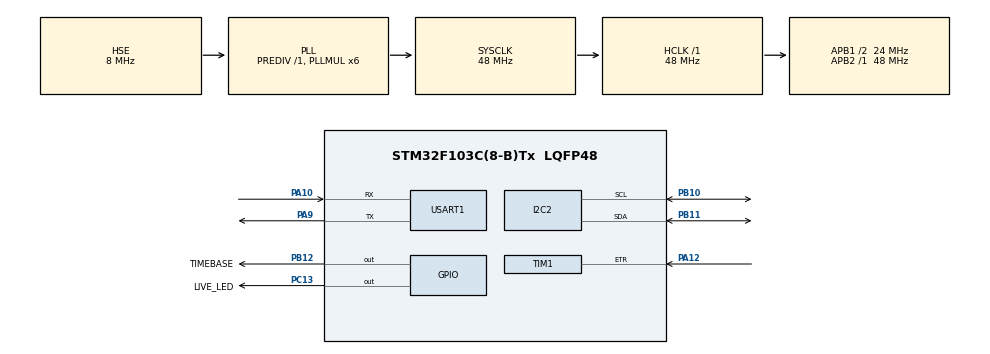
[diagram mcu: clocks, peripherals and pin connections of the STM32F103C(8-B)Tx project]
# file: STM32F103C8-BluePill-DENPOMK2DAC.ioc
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Dma.Request0=USART1_RX
Dma.USART1_RX.0.Direction=DMA_PERIPH_TO_MEMORY
Dma.USART1_RX.0.Instance=DMA1_Channel5
Dma.USART1_RX.0.MemDataAlignment=DMA_MDATAALIGN_BYTE
Dma.USART1_RX.0.MemInc=DMA_MINC_ENABLE
Dma.USART1_RX.0.Mode=DMA_NORMAL
Dma.USART1_RX.0.PeriphDataAlignment=DMA_PDATAALIGN_BYTE
Dma.USART1_RX.0.PeriphInc=DMA_PINC_DISABLE
Dma.USART1_RX.0.Priority=DMA_PRIORITY_MEDIUM
Mcu.Family=STM32F1
Mcu.Name=STM32F103C(8-B)Tx
Mcu.Package=LQFP48
NVIC.DMA1_Channel5_IRQn=true\:0\:0\:false\:false\:true\:false\:true
NVIC.PriorityGroup=NVIC_PRIORITYGROUP_4
NVIC.TIM1_UP_IRQn=true\:0\:0\:false\:false\:true\:true\:true
NVIC.TIM2_IRQn=true\:0\:0\:false\:false\:true\:true\:true
NVIC.USART1_IRQn=true\:0\:0\:false\:false\:true\:true\:true
PA10.Mode=Asynchronous
PA10.Signal=USART1_RX
PA12.Signal=S_TIM1_ETR
PA13.Mode=Serial_Wire
PA13.Signal=SYS_JTMS-SWDIO
PA14.Mode=Serial_Wire
PA14.Signal=SYS_JTCK-SWCLK
PA9.Mode=Asynchronous
PA9.Signal=USART1_TX
PB10.Mode=I2C
PB10.Signal=I2C2_SCL
PB11.Mode=I2C
PB11.Signal=I2C2_SDA
PB12.GPIO_Label=TIMEBASE
PB12.Signal=GPIO_Output
PC13-TAMPER-RTC.GPIO_Label=LIVE_LED
PC13-TAMPER-RTC.Signal=GPIO_Output
PD0-OSC_IN.Mode=HSE-External-Oscillator
PD0-OSC_IN.Signal=RCC_OSC_IN
PD1-OSC_OUT.Mode=HSE-External-Oscillator
PD1-OSC_OUT.Signal=RCC_OSC_OUT
ProjectManager.HeapSize=0x200
ProjectManager.StackSize=0x400
ProjectManager.TargetToolchain=STM32CubeIDE
RCC.AHBFreq_Value=48000000
RCC.APB1CLKDivider=RCC_HCLK_DIV2
RCC.APB1Freq_Value=24000000
RCC.APB1TimFreq_Value=48000000
RCC.APB2Freq_Value=48000000
RCC.APB2TimFreq_Value=48000000
RCC.HCLKFreq_Value=48000000
RCC.PLLMUL=RCC_PLL_MUL6
RCC.PLLSourceVirtual=RCC_PLLSOURCE_HSE
RCC.SYSCLKFreq_VALUE=48000000
RCC.SYSCLKSource=RCC_SYSCLKSOURCE_PLLCLK
RCC.USBFreq_Value=48000000
SH.S_TIM1_ETR.0=TIM1_ETR,ClockSourceETR_Mode2
TIM2.Period=53400
USART1.VirtualMode=VM_ASYNC
VP_TIM2_VS_ClockSourceINT.Mode=Internal
board=custom

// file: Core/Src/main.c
/* USER CODE BEGIN Header */
/**
  ******************************************************************************
  * @file           : main.c
  * @brief          : Main program body
  ******************************************************************************
  * @attention
  *
  * Copyright (c) 2022 STMicroelectronics.
  * All rights reserved.
  *
  * This software is licensed under terms that can be found in the LICENSE file
  * in the root directory of this software component.
  * If no LICENSE file comes with this software, it is provided AS-IS.
  *
  ******************************************************************************
  */
/* USER CODE END Header */
#include "main.h"

/* USER CODE BEGIN Includes */
#include "LiveLed.h"
#include "vt100.h"
#include "SSD1306_128x32_I2C.h"
#include <stdio.h>
#include "string.h"
/* USER CODE END Includes */

/* USER CODE BEGIN PTD */

/*** FreqMeter ***/
typedef struct _FreqConfig_t
{
  uint16_t TimebasePrescaler;
  uint16_t TimebaseAutoReload;
  uint16_t Multiplier;
}FreqConfig_t;

typedef struct _FerqMeter_t
{
  uint32_t Counter;
  uint8_t CfgIndex;
  uint8_t OutOfRange;

}FreqMeter_t;

typedef struct _Devic_t
{
  FreqMeter_t Freq;

  struct _Diag
  {
    uint32_t RxCommandsCounter;
    uint32_t TxResponseCounter;
    uint32_t RxDMAErrorCounter;
    uint32_t DMAstatus;
    uint32_t UartErrorCounter;
    uint32_t UartBufferOverflowCnt;
    uint32_t UpTimeSec;
  }Diag;

}Device_t;

/* USER CODE END PTD */

/* USER CODE BEGIN PD */

/*** FreqMeter ***/
#define FRMETER_TIM_TIMEBASE  TIM2
#define FRMETER_TIM_COUNTER   TIM1

#define FREQ_CFG_1S      0
#define FREQ_CFG_100MS   1
#define FREQ_CFG_10MS    2
#define FREQ_CFG_1MS     3

#define FreqMeterTimebaseStart()   __HAL_TIM_ENABLE(&htim2)
#define FreqMeterCoutnerStart()    __HAL_TIM_ENABLE(&htim1)
#define FreqMeterCounterValue      FRMETER_TIM_COUNTER->CNT
#define FreqMeterTimebaseValue     FRMETER_TIM_TIMEBASE->CNT

/*** UART ***/
#define UART_BUFFER_SIZE        40

/* USER CODE END PD */

I2C_HandleTypeDef hi2c2;

TIM_HandleTypeDef htim1;
TIM_HandleTypeDef htim2;

UART_HandleTypeDef huart1;
DMA_HandleTypeDef hdma_usart1_rx;

/* USER CODE BEGIN PV */
LiveLED_HnadleTypeDef hLiveLed;
Device_t Device;

/*** FreqMeter ***/
FreqConfig_t FreqMeterConfigs[] =
{
/* TimebasePrescaler, TimebaseAutoReload, Multiplier */
    {800, 60000, 1},  //0 FRMETER_CFG_1S
    {80, 60000, 10},  //1 FRMETER_CFG_100MS
    {8, 53400, 100},  //2 FRMETER_CFG_10MS
    {1, 48000, 1000}  //3
};

/*** UART ***/
char UartRxBuffer[UART_BUFFER_SIZE];
char UartTxBuffer[UART_BUFFER_SIZE];

/* USER CODE END PV */

void SystemClock_Config(void);
static void MX_GPIO_Init(void);
static void MX_TIM1_Init(void);
static void MX_TIM2_Init(void);
static void MX_USART1_UART_Init(void);
static void MX_DMA_Init(void);
static void MX_I2C2_Init(void);
/* USER CODE BEGIN PFP */

/*** LiveLed ***/
void LiveLedOff(void);
void LiveLedOn(void);

/*** Display ***/
uint8_t DisplayI2CWrite(uint8_t* wdata, size_t wlength);

/*** FreqMeter ***/
void FreqMeterStart(FreqMeter_t *context, uint8_t cfgIndex);

/* USER CODE END PFP */

/* USER CODE BEGIN 0 */

/* FreqMeter -----------------------------------------------------------------*/
void FreqMeterStart(FreqMeter_t *context, uint8_t cfgIndex)
{
  context->CfgIndex = cfgIndex;
  FreqMeterCounterValue = 0;
  FreqMeterTimebaseValue = 0;

  __HAL_TIM_SET_PRESCALER(&htim2, FreqMeterConfigs[cfgIndex].TimebasePrescaler);
  __HAL_TIM_SET_AUTORELOAD(&htim2, FreqMeterConfigs[cfgIndex].TimebaseAutoReload);
  __HAL_TIM_ENABLE_IT(&htim2, TIM_IT_UPDATE);
  FreqMeterTimebaseStart();
  FreqMeterCoutnerStart();
}

void HAL_TIM_PeriodElapsedCallback(TIM_HandleTypeDef *htim)
{
   if(htim->Instance == FRMETER_TIM_TIMEBASE)
   {
     Device.Freq.Counter = FreqMeterCounterValue;
     FreqMeterCounterValue = 0;
     Device.Freq.OutOfRange = 0;
     HAL_GPIO_TogglePin(TIMEBASE_GPIO_Port, TIMEBASE_Pin);
   }
   else if(htim->Instance == FRMETER_TIM_COUNTER)
   {
     Device.Freq.OutOfRange = 1;
   }
}

/* UART ----------------------------------------------------------------------*/
void UartTask(void)
{
  uint8_t terminated = 0;

  if(strlen(UartRxBuffer)==0)
    return;

  for(uint8_t i=0; i<strlen(UartRxBuffer);i++)
  if(/*UartRxBuffer[i]=='\r' ||*/ UartRxBuffer[i]=='\n')
  {
    UartRxBuffer[i]=0;
    terminated = 1;
  }

  if(!terminated)
     return;
  else
    HAL_UART_DMAStop(&huart1);

  Device.Diag.RxCommandsCounter++;

  char cmd[20];
  char arg1[10];
  char arg2[10];
  uint8_t params = sscanf(UartRxBuffer, "%s %s %s", cmd, arg1, arg2);

  if(params == 1)
  {/*** parméter mentes utasitások ***/
    if(!strcmp(cmd, "*OPC?"))
    {
      strcpy(UartTxBuffer, "*OPC");
    }
    else if(!strcmp(cmd, "*RDY?"))
    {
      strcpy(UartTxBuffer, "*RDY");
    }
    else if(!strcmp(cmd, "*WHOIS?"))
    {
      strcpy(UartTxBuffer, DEVICE_NAME);
    }
    else if(!strcmp(cmd, "*VER?"))
    {
      strcpy(UartTxBuffer, DEVICE_FW);
    }
    else if(!strcmp(cmd, "*UID?"))
    {
      sprintf(UartTxBuffer, "%4lX%4lX%4lX",HAL_GetUIDw0(), HAL_GetUIDw1(), HAL_GetUIDw2());
    }
    else if(!strcmp(cmd,"UPTIME?"))
    {
      sprintf(UartTxBuffer, "%ld", Device.Diag.UpTimeSec);
    }
    else if(!strcmp(cmd,"FRQ?"))
    {
      sprintf(UartTxBuffer, "%ld", Device.Freq.Counter);
    }
    else
    {
      strcpy(UartTxBuffer, "!UNKNOWN");
    }
  }
  if(params == 2)
  {/*** Paraméteres utasitások ***/
    strcpy(UartTxBuffer, "!UNKNOWN");
  }

  uint8_t resp_len =strlen(UartTxBuffer);
  UartTxBuffer[resp_len]= '\n';
  UartTxBuffer[++resp_len]= 0;

  HAL_Delay(100);
  if(strlen(UartTxBuffer)!=0)
  {
    Device.Diag.TxResponseCounter++;
    HAL_UART_Transmit(&huart1, (uint8_t*) UartTxBuffer, sizeof(UartTxBuffer), 100);
    memset(UartTxBuffer,0x00,UART_BUFFER_SIZE);
    if(HAL_UART_Receive_DMA(&huart1, (uint8_t*) UartRxBuffer, UART_BUFFER_SIZE) != HAL_OK)
      Device.Diag.RxDMAErrorCounter++;
  }
}

void HAL_UART_ErrorCallback(UART_HandleTypeDef *huart)
{
  Device.Diag.UartErrorCounter++;
  /*
  __HAL_UART_CLEAR_FLAG(huart,UART_CLEAR_PEF);
  __HAL_UART_CLEAR_FLAG(huart,UART_CLEAR_FEF);
  __HAL_UART_CLEAR_FLAG(huart,UART_CLEAR_NEF);
  __HAL_UART_CLEAR_FLAG(huart,UART_CLEAR_OREF);

  Device.Diag.DMAstatus = HAL_DMA_GetError(&hdma_usart1_rx);
  HAL_UART_DMAStop(&huart1);
  */

  HAL_UART_MspDeInit(&huart1);
  MX_USART1_UART_Init();

  if(HAL_UART_Receive_DMA(&huart1, (uint8_t*) UartRxBuffer, UART_BUFFER_SIZE) != HAL_OK)
    Device.Diag.RxDMAErrorCounter++;
}
/* USER CODE END 0 */

int main(void)
{

  /* MCU Configuration--------------------------------------------------------*/

  /* Reset of all peripherals, Initializes the Flash interface and the Systick. */
  HAL_Init();

  /* Configure the system clock */
  SystemClock_Config();

  /* Initialize all configured peripherals */
  MX_GPIO_Init();
  MX_TIM1_Init();
  MX_TIM2_Init();
  MX_USART1_UART_Init();
  MX_DMA_Init();
  MX_I2C2_Init();
  /* USER CODE BEGIN 2 */

  printf(VT100_CLEARSCREEN);
  printf(VT100_CURSORHOME);
  printf(VT100_ATTR_RESET);

  /*** Display ***/
  SSD1306_Init(DisplayI2CWrite);
  SSD1306_DisplayClear();
  SSD1306_DisplayUpdate();

  SSD1306_DrawPixel(0, 0, SSD1306_WHITE);
  SSD1306_DrawPixel(SSD1306_WIDTH - 1, SSD1306_HEIGHT - 1, SSD1306_WHITE);
  SSD1306_DrawLine(0, 1, 127, 1, SSD1306_WHITE);
  SSD1306_DrawLine(0, 2, 127, 2, SSD1306_WHITE);
  SSD1306_DrawLine(3, 3, 4, 4, SSD1306_WHITE);

  SSD1306_SetCursor(0, 4);
  SSD1306_DrawString("Hello World", &GfxFont7x8, SSD1306_WHITE );
  SSD1306_DisplayUpdate();

  SSD1306_DisplayClear();
  SSD1306_DisplayUpdate();

  /*** FreqMeter ***/
  FreqMeterStart(&Device.Freq, FREQ_CFG_10MS);

  /*
#ifdef DEBUG
  printf(VT100_ATTR_RED);
  DeviceUsrLog("This is a DEBUG version.\n");
  printf(VT100_ATTR_RESET);
#endif

  DeviceUsrLog("Manufacturer:%s, Version:%04X",DEVICE_MNF, DEVICE_FW);
*/

  /*** LiveLed ***/
  hLiveLed.LedOffFnPtr = &LiveLedOff;
  hLiveLed.LedOnFnPtr = &LiveLedOn;
  hLiveLed.HalfPeriodTimeMs = 500;
  LiveLedInit(&hLiveLed);

  /*** "Kelj fel és járj" ***/
  HAL_UART_Receive_DMA (&huart1, (uint8_t*)UartRxBuffer, UART_BUFFER_SIZE);

  /* USER CODE END 2 */

  /* Infinite loop */
  /* USER CODE BEGIN WHILE */
  while (1)
  {
    static uint32_t timestamp;
    static uint32_t timestamp1s;
    LiveLedTask(&hLiveLed);
    char string[50];

    if(HAL_GetTick() - timestamp > 250)
    {
      timestamp = HAL_GetTick();
      SSD1306_SetCursor(0, 1);

      uint32_t f = Device.Freq.Counter * FreqMeterConfigs[Device.Freq.CfgIndex].Multiplier;

      sprintf(string,"f:%02lu %03ld Hz",  f/1000, f % 1000 );
      SSD1306_DisplayClear();
      SSD1306_DrawString(string, &GfxFont7x8, SSD1306_WHITE );
      SSD1306_DisplayUpdate();
    }

    if(HAL_GetTick() - timestamp1s > 1000)
    {
        timestamp1s = HAL_GetTick();
        /*** 1sec-es ütem ***/
        Device.Diag.UpTimeSec++;
    }

    /* USER CODE END WHILE */

  }
}

void SystemClock_Config(void)
{
  RCC_OscInitTypeDef RCC_OscInitStruct = {0};
  RCC_ClkInitTypeDef RCC_ClkInitStruct = {0};

  /** Initializes the RCC Oscillators according to the specified parameters
  * in the RCC_OscInitTypeDef structure.
  */
  RCC_OscInitStruct.OscillatorType = RCC_OSCILLATORTYPE_HSE;
  RCC_OscInitStruct.HSEState = RCC_HSE_ON;
  RCC_OscInitStruct.HSEPredivValue = RCC_HSE_PREDIV_DIV1;
  RCC_OscInitStruct.HSIState = RCC_HSI_ON;
  RCC_OscInitStruct.PLL.PLLState = RCC_PLL_ON;
  RCC_OscInitStruct.PLL.PLLSource = RCC_PLLSOURCE_HSE;
  RCC_OscInitStruct.PLL.PLLMUL = RCC_PLL_MUL6;
  if (HAL_RCC_OscConfig(&RCC_OscInitStruct) != HAL_OK)
  {
    Error_Handler();
  }
  /** Initializes the CPU, AHB and APB buses clocks
  */
  RCC_ClkInitStruct.ClockType = RCC_CLOCKTYPE_HCLK|RCC_CLOCKTYPE_SYSCLK
                              |RCC_CLOCKTYPE_PCLK1|RCC_CLOCKTYPE_PCLK2;
  RCC_ClkInitStruct.SYSCLKSource = RCC_SYSCLKSOURCE_PLLCLK;
  RCC_ClkInitStruct.AHBCLKDivider = RCC_SYSCLK_DIV1;
  RCC_ClkInitStruct.APB1CLKDivider = RCC_HCLK_DIV2;
  RCC_ClkInitStruct.APB2CLKDivider = RCC_HCLK_DIV1;

  if (HAL_RCC_ClockConfig(&RCC_ClkInitStruct, FLASH_LATENCY_1) != HAL_OK)
  {
    Error_Handler();
  }
}

static void MX_I2C2_Init(void)
{

  hi2c2.Instance = I2C2;
  hi2c2.Init.ClockSpeed = 100000;
  hi2c2.Init.DutyCycle = I2C_DUTYCYCLE_2;
  hi2c2.Init.OwnAddress1 = 0;
  hi2c2.Init.AddressingMode = I2C_ADDRESSINGMODE_7BIT;
  hi2c2.Init.DualAddressMode = I2C_DUALADDRESS_DISABLE;
  hi2c2.Init.OwnAddress2 = 0;
  hi2c2.Init.GeneralCallMode = I2C_GENERALCALL_DISABLE;
  hi2c2.Init.NoStretchMode = I2C_NOSTRETCH_DISABLE;
  if (HAL_I2C_Init(&hi2c2) != HAL_OK)
  {
    Error_Handler();
  }

}

static void MX_TIM1_Init(void)
{

  TIM_ClockConfigTypeDef sClockSourceConfig = {0};
  TIM_MasterConfigTypeDef sMasterConfig = {0};

  htim1.Instance = TIM1;
  htim1.Init.Prescaler = 0;
  htim1.Init.CounterMode = TIM_COUNTERMODE_UP;
  htim1.Init.Period = 65535;
  htim1.Init.ClockDivision = TIM_CLOCKDIVISION_DIV1;
  htim1.Init.RepetitionCounter = 0;
  htim1.Init.AutoReloadPreload = TIM_AUTORELOAD_PRELOAD_DISABLE;
  if (HAL_TIM_Base_Init(&htim1) != HAL_OK)
  {
    Error_Handler();
  }
  sClockSourceConfig.ClockSource = TIM_CLOCKSOURCE_ETRMODE2;
  sClockSourceConfig.ClockPolarity = TIM_CLOCKPOLARITY_NONINVERTED;
  sClockSourceConfig.ClockPrescaler = TIM_CLOCKPRESCALER_DIV1;
  sClockSourceConfig.ClockFilter = 0;
  if (HAL_TIM_ConfigClockSource(&htim1, &sClockSourceConfig) != HAL_OK)
  {
    Error_Handler();
  }
  sMasterConfig.MasterOutputTrigger = TIM_TRGO_RESET;
  sMasterConfig.MasterSlaveMode = TIM_MASTERSLAVEMODE_DISABLE;
  if (HAL_TIMEx_MasterConfigSynchronization(&htim1, &sMasterConfig) != HAL_OK)
  {
    Error_Handler();
  }

}

static void MX_TIM2_Init(void)
{

  TIM_ClockConfigTypeDef sClockSourceConfig = {0};
  TIM_MasterConfigTypeDef sMasterConfig = {0};

  htim2.Instance = TIM2;
  htim2.Init.Prescaler = 0;
  htim2.Init.CounterMode = TIM_COUNTERMODE_UP;
  htim2.Init.Period = 53400;
  htim2.Init.ClockDivision = TIM_CLOCKDIVISION_DIV1;
  htim2.Init.AutoReloadPreload = TIM_AUTORELOAD_PRELOAD_DISABLE;
  if (HAL_TIM_Base_Init(&htim2) != HAL_OK)
  {
    Error_Handler();
  }
  sClockSourceConfig.ClockSource = TIM_CLOCKSOURCE_INTERNAL;
  if (HAL_TIM_ConfigClockSource(&htim2, &sClockSourceConfig) != HAL_OK)
  {
    Error_Handler();
  }
  sMasterConfig.MasterOutputTrigger = TIM_TRGO_RESET;
  sMasterConfig.MasterSlaveMode = TIM_MASTERSLAVEMODE_DISABLE;
  if (HAL_TIMEx_MasterConfigSynchronization(&htim2, &sMasterConfig) != HAL_OK)
  {
    Error_Handler();
  }

}

static void MX_USART1_UART_Init(void)
{

  huart1.Instance = USART1;
  huart1.Init.BaudRate = 115200;
  huart1.Init.WordLength = UART_WORDLENGTH_8B;
  huart1.Init.StopBits = UART_STOPBITS_1;
  huart1.Init.Parity = UART_PARITY_NONE;
  huart1.Init.Mode = UART_MODE_TX_RX;
  huart1.Init.HwFlowCtl = UART_HWCONTROL_NONE;
  huart1.Init.OverSampling = UART_OVERSAMPLING_16;
  if (HAL_UART_Init(&huart1) != HAL_OK)
  {
    Error_Handler();
  }

}

static void MX_DMA_Init(void)
{

  /* DMA controller clock enable */
  __HAL_RCC_DMA1_CLK_ENABLE();

  /* DMA interrupt init */
  /* DMA1_Channel5_IRQn interrupt configuration */
  HAL_NVIC_SetPriority(DMA1_Channel5_IRQn, 0, 0);
  HAL_NVIC_EnableIRQ(DMA1_Channel5_IRQn);

}

static void MX_GPIO_Init(void)
{
  GPIO_InitTypeDef GPIO_InitStruct = {0};

  /* GPIO Ports Clock Enable */
  __HAL_RCC_GPIOC_CLK_ENABLE();
  __HAL_RCC_GPIOD_CLK_ENABLE();
  __HAL_RCC_GPIOB_CLK_ENABLE();
  __HAL_RCC_GPIOA_CLK_ENABLE();

  /*Configure GPIO pin Output Level */
  HAL_GPIO_WritePin(LIVE_LED_GPIO_Port, LIVE_LED_Pin, GPIO_PIN_RESET);

  /*Configure GPIO pin Output Level */
  HAL_GPIO_WritePin(TIMEBASE_GPIO_Port, TIMEBASE_Pin, GPIO_PIN_RESET);

  /*Configure GPIO pin : LIVE_LED_Pin */
  GPIO_InitStruct.Pin = LIVE_LED_Pin;
  GPIO_InitStruct.Mode = GPIO_MODE_OUTPUT_PP;
  GPIO_InitStruct.Pull = GPIO_NOPULL;
  GPIO_InitStruct.Speed = GPIO_SPEED_FREQ_LOW;
  HAL_GPIO_Init(LIVE_LED_GPIO_Port, &GPIO_InitStruct);

  /*Configure GPIO pin : TIMEBASE_Pin */
  GPIO_InitStruct.Pin = TIMEBASE_Pin;
  GPIO_InitStruct.Mode = GPIO_MODE_OUTPUT_PP;
  GPIO_InitStruct.Pull = GPIO_NOPULL;
  GPIO_InitStruct.Speed = GPIO_SPEED_FREQ_LOW;
  HAL_GPIO_Init(TIMEBASE_GPIO_Port, &GPIO_InitStruct);

}

/* USER CODE BEGIN 4 */
/* LEDs ---------------------------------------------------------------------*/
void LiveLedOn(void)
{
  HAL_GPIO_WritePin(LIVE_LED_GPIO_Port, LIVE_LED_Pin, GPIO_PIN_SET);
}

void LiveLedOff(void)
{
  HAL_GPIO_WritePin(LIVE_LED_GPIO_Port, LIVE_LED_Pin, GPIO_PIN_RESET);
}
/* printf --------------------------------------------------------------------*/
int _write(int file, char *ptr, int len)
{
  //HAL_UART_Transmit(&huart1, (uint8_t*)ptr, len, 100);
  int i=0;
  for(i=0 ; i<len ; i++)
    ITM_SendChar((*ptr++));
  return len;
}

/* Display -------------------------------------------------------------------*/
uint8_t DisplayI2CWrite(uint8_t* wdata, size_t wlength){
    uint8_t address = 0x78;
    while (HAL_I2C_GetState(&hi2c2) != HAL_I2C_STATE_READY) {}
    while (HAL_I2C_IsDeviceReady(&hi2c2, address, 3, 300) != HAL_OK) { }
    HAL_I2C_Master_Transmit(&hi2c2, address, wdata, wlength, 100);
    while (HAL_I2C_GetState(&hi2c2) != HAL_I2C_STATE_READY) {}
    return 0;
}

/* USER CODE END 4 */

void Error_Handler(void)
{
  __disable_irq();
  while (1)
  {
  }
}
